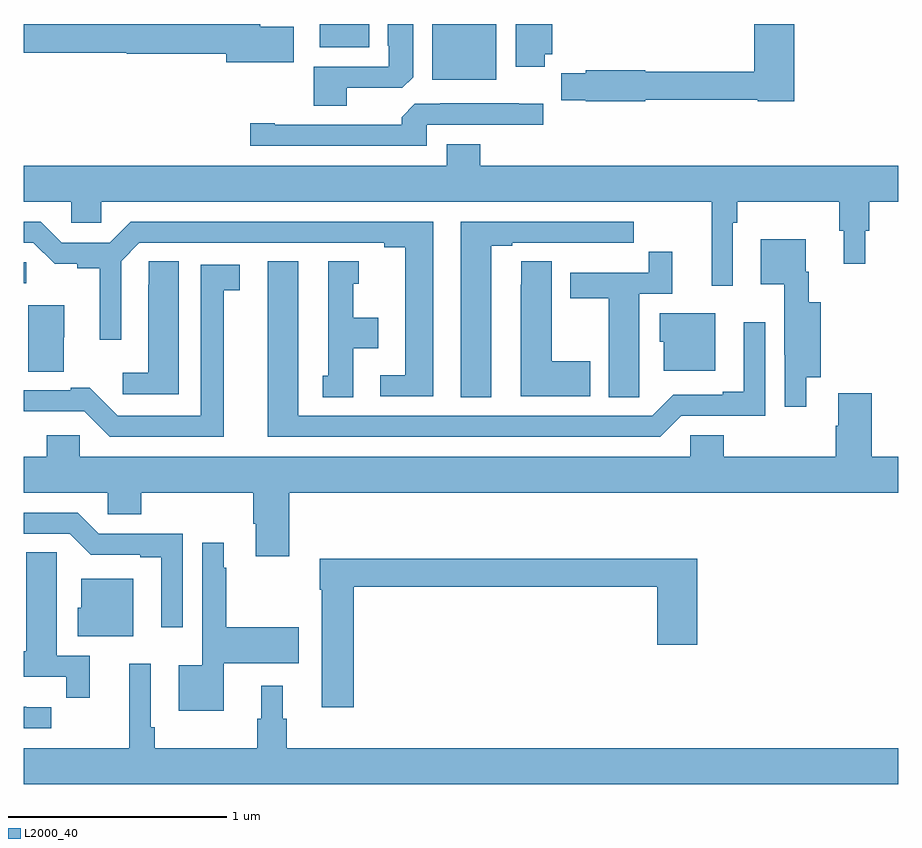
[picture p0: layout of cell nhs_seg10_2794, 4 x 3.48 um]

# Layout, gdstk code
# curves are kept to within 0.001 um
import gdstk
lib = gdstk.Library(unit=1e-6, precision=1e-09)
def R(c, l, rs):  # rectangles x0, y0, x1, y1
    for r in rs: c.add(gdstk.rectangle(r[:2], r[2:], *l))
def P(c, l, *ps):  # polygons
    for p in ps: c.add(gdstk.Polygon(p, *l))
L2000_40 = (2000, 40)

nhs_seg10_2794 = lib.new_cell('nhs_seg10_2794')
R(nhs_seg10_2794, L2000_40, [(263,1261.314,263.011,1261.41), (264.869,1262.246,265.162,1262.5), (264.353,1262.393,264.58,1262.5)])
P(nhs_seg10_2794, L2000_40, [(264.478,1262.208),(264.732,1262.208),(264.781,1262.257),(264.781,1262.5),(264.665,1262.5),(264.665,1262.401),(264.669,1262.401),(264.669,1262.304),(264.326,1262.304),(264.326,1262.125),(264.478,1262.125)],
  [(265.384,1262.361),(265.418,1262.361),(265.418,1262.5),(265.25,1262.5),(265.25,1262.305),(265.384,1262.305)],
  [(265.842,1262.154),(266.358,1262.154),(266.358,1262.146),(266.525,1262.146),(266.525,1262.5),(266.342,1262.5),(266.342,1262.282),(265.842,1262.282),(265.842,1262.288),(265.57,1262.288),(265.57,1262.275),(265.459,1262.275),(265.459,1262.152),(265.57,1262.152),(265.57,1262.146),(265.842,1262.146)],
  [(264.235,1262.487),(264.082,1262.487),(264.082,1262.5),(263,1262.5),(263,1262.368),(263.472,1262.368),(263.472,1262.363),(263.927,1262.363),(263.927,1262.324),(264.235,1262.324)],
  [(264.843,1262.04),(265.376,1262.04),(265.376,1262.135),(265.265,1262.135),(265.265,1262.137),(264.789,1262.136),(264.728,1262.074),(264.728,1262.04),(264.148,1262.04),(264.148,1262.045),(264.036,1262.045),(264.036,1261.944),(264.843,1261.944)],
  [(266.244,1261.592),(266.264,1261.592),(266.264,1261.688),(266.731,1261.688),(266.731,1261.554),(266.75,1261.554),(266.75,1261.404),(266.848,1261.404),(266.848,1261.554),(266.867,1261.554),(266.867,1261.688),(267,1261.688),(267,1261.852),(265.088,1261.852),(265.088,1261.951),(264.935,1261.951),(264.935,1261.852),(263,1261.852),(263,1261.688),(263.217,1261.688),(263.217,1261.59),(263.355,1261.59),(263.355,1261.688),(266.147,1261.688),(266.147,1261.302),(266.244,1261.302)],
  [(265.138,1261.485),(265.234,1261.485),(265.234,1261.5),(265.51,1261.5),(265.51,1261.499),(265.676,1261.499),(265.676,1261.5),(265.789,1261.5),(265.789,1261.596),(264.998,1261.596),(264.998,1260.793),(265.138,1260.793)],
  [(264.874,1261.596),(263.489,1261.596),(263.393,1261.5),(263.175,1261.5),(263.079,1261.596),(263,1261.596),(263,1261.5),(263.043,1261.5),(263.141,1261.403),(263.244,1261.403),(263.244,1261.384),(263.348,1261.384),(263.348,1261.056),(263.445,1261.056),(263.445,1261.416),(263.529,1261.5),(264.65,1261.5),(264.65,1261.48),(264.746,1261.48),(264.746,1260.894),(264.63,1260.894),(264.63,1260.798),(264.874,1260.798)],
  [(266.578,1260.884),(266.646,1260.884),(266.646,1261.228),(266.59,1261.228),(266.59,1261.368),(266.577,1261.368),(266.577,1261.516),(266.372,1261.516),(266.372,1261.31),(266.479,1261.31),(266.479,1260.988),(266.48,1260.988),(266.48,1260.75),(266.578,1260.75)],
  [(265.815,1260.904),(265.816,1260.904),(265.816,1261.266),(265.967,1261.266),(265.967,1261.459),(265.858,1261.459),(265.858,1261.362),(265.499,1261.362),(265.499,1261.246),(265.676,1261.246),(265.676,1260.793),(265.815,1260.793)],
  [(265.591,1260.957),(265.414,1260.957),(265.414,1261.415),(265.275,1261.415),(265.275,1261.307),(265.274,1261.307),(265.274,1260.797),(265.591,1260.797)],
  [(263.71,1261.415),(263.571,1261.415),(263.571,1261.307),(263.57,1261.307),(263.57,1260.904),(263.454,1260.904),(263.454,1260.807),(263.71,1260.807)],
  [(264.508,1261.016),(264.622,1261.016),(264.622,1261.156),(264.508,1261.156),(264.508,1261.311),(264.532,1261.311),(264.532,1261.414),(264.392,1261.414),(264.392,1260.891),(264.368,1260.891),(264.368,1260.793),(264.508,1260.793)],
  [(266.007,1260.708),(266.391,1260.708),(266.391,1261.135),(266.294,1261.135),(266.294,1260.817),(266.198,1260.817),(266.198,1260.804),(265.971,1260.804),(265.875,1260.708),(264.256,1260.708),(264.256,1261.414),(264.116,1261.414),(264.116,1260.612),(265.911,1260.612)],
  [(263.914,1261.282),(263.989,1261.282),(263.989,1261.398),(263.81,1261.398),(263.81,1260.708),(263.43,1260.708),(263.302,1260.836),(263.216,1260.836),(263.216,1260.825),(263,1260.825),(263,1260.728),(263.277,1260.729),(263.394,1260.612),(263.914,1260.612)],
  [(263.184,1261.068),(263.185,1261.068),(263.185,1261.213),(263.021,1261.213),(263.021,1260.91),(263.184,1260.91)],
  [(266.164,1261.177),(265.91,1261.177),(265.91,1261.047),(265.928,1261.047),(265.928,1260.914),(266.164,1260.914)],
  [(266.726,1260.811),(266.726,1260.662),(266.714,1260.662),(266.714,1260.52),(266.201,1260.52),(266.201,1260.618),(266.049,1260.618),(266.049,1260.52),(263.256,1260.52),(263.256,1260.618),(263.105,1260.618),(263.105,1260.52),(263,1260.52),(263,1260.356),(263.385,1260.356),(263.385,1260.258),(263.537,1260.258),(263.537,1260.356),(264.05,1260.356),(264.05,1260.214),(264.062,1260.214),(264.062,1260.066),(264.215,1260.066),(264.215,1260.356),(267,1260.356),(267,1260.52),(266.879,1260.52),(266.879,1260.811)],
  [(263.727,1260.168),(263.343,1260.168),(263.247,1260.264),(263,1260.264),(263,1260.168),(263.211,1260.168),(263.307,1260.072),(263.534,1260.072),(263.534,1260.06),(263.63,1260.06),(263.63,1259.742),(263.727,1259.742)],
  [(263.914,1259.576),(264.259,1259.576),(264.259,1259.742),(263.926,1259.742),(263.926,1260.014),(263.914,1260.014),(263.914,1260.127),(263.817,1260.127),(263.817,1259.566),(263.708,1259.566),(263.708,1259.36),(263.914,1259.36)],
  [(263.303,1259.61),(263.152,1259.61),(263.152,1259.972),(263.151,1259.972),(263.151,1260.083),(263.012,1260.083),(263.012,1259.631),(263,1259.631),(263,1259.514),(263.194,1259.514),(263.194,1259.418),(263.303,1259.418)],
  [(264.509,1259.926),(265.898,1259.926),(265.898,1259.661),(266.081,1259.661),(266.081,1260.055),(264.355,1260.055),(264.355,1259.912),(264.362,1259.912),(264.362,1259.376),(264.509,1259.376)],
  [(263.5,1259.962),(263.264,1259.962),(263.264,1259.829),(263.246,1259.829),(263.246,1259.699),(263.5,1259.699)],
  [(267,1259.188),(264.203,1259.188),(264.203,1259.322),(264.184,1259.322),(264.184,1259.473),(264.086,1259.473),(264.086,1259.322),(264.067,1259.322),(264.067,1259.188),(263.6,1259.188),(263.6,1259.284),(263.58,1259.284),(263.58,1259.575),(263.483,1259.575),(263.483,1259.188),(263,1259.188),(263,1259.024),(267,1259.024)],
  [(263.125,1259.376),(263.012,1259.376),(263.012,1259.377),(263,1259.377),(263,1259.28),(263.125,1259.28)])

lib.write_gds('nhs_seg10_2794.gds')
